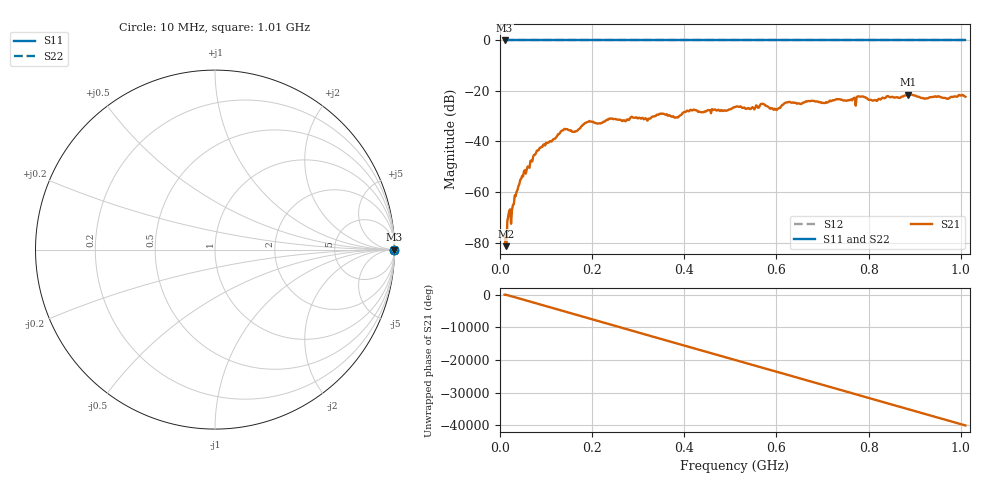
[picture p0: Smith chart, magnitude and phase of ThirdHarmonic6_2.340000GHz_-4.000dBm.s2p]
! 8/17/2025 3:26:58 AM
! C:\ANRITSUVNA\TEMP\TEMP.S2P
! CHANNEL.1
! TR.MEASUREMENT
! RAW.DATA
! RF.CORRECTION.OFF
! AVERAGING.OFF
! IF.BANDWIDTH: 5KHZ
! SWEEPTYPE:  FREQ.SWEEP(Linear)
! Reference Plane Port Info
! PORT:  PORT1  PORT2
! DISTANCE:  0  m  0  m
! TIME:  0  s  0  s
! PHASE.OFFSET:  0  deg.  0  deg.
! LOSS:  0  dB  0  dB
! REF.LOSS:  0  dB  0  dB
! REF.FREQ:  0  Hz  0  Hz
! Power Info
! POWER:  -20  dBm  -20  dBm
! EFF.POWER:  -20  dBm  -20  dBm
! SOURCE.ATTEN:  0  dB  0  dB
! TEST.ATTEN:  0  dB  0  dB
# GHZ S RI R 50.0
! FREQ.GHZ  S11RE  S11IM  S21RE  S21IM  S12RE  S12IM  S22RE  S22IM
!; PortSelection: Port_12
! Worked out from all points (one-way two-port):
!   501 points, 10 MHz to 1.01 GHz, reference 50 ohm
!   highest |S21| = -21.44 dB at 886 MHz (marker M1); lowest = -81.4 dB at 14 MHz (marker M2)
!   lowest |S11| = 0.0 dB at 10 MHz (marker M3)
!   |S11| at or under -10 dB: nowhere
!   |S22| runs from 0.0 to 0.0 dB; largest |S21 - S12| = 1.1
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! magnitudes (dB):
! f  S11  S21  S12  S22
! 10 MHz  0.0  -76.7  0.0  0.0
! 14 MHz  0.0  -81.4  0.0  0.0
! 20 MHz  0.0  -67.5  0.0  0.0
! 28 MHz  0.0  -65.2  0.0  0.0
! 44 MHz  0.0  -55.2  0.0  0.0
! 76 MHz  0.0  -45.2  0.0  0.0
! 136 MHz  0.0  -35.7  0.0  0.0
! 162 MHz  0.0  -36.2  0.0  0.0
! 178 MHz  0.0  -33.7  0.0  0.0
! 240 MHz  0.0  -31.0  0.0  0.0
! 322 MHz  0.0  -31.0  0.0  0.0
! 344 MHz  0.0  -29.4  0.0  0.0
! 382 MHz  0.0  -30.5  0.0  0.0
! 410 MHz  0.0  -28.1  0.0  0.0
! 510 MHz  0.0  -26.4  0.0  0.0
! 570 MHz  0.0  -25.0  0.0  0.0
! 598 MHz  0.0  -27.3  0.0  0.0
! 624 MHz  0.0  -24.5  0.0  0.0
! 678 MHz  0.0  -23.9  0.0  0.0
! 844 MHz  0.0  -22.2  0.0  0.0
! 886 MHz  0.0  -21.4  0.0  0.0
! 1.01 GHz  0.0  -22.3  0.0  0.0
